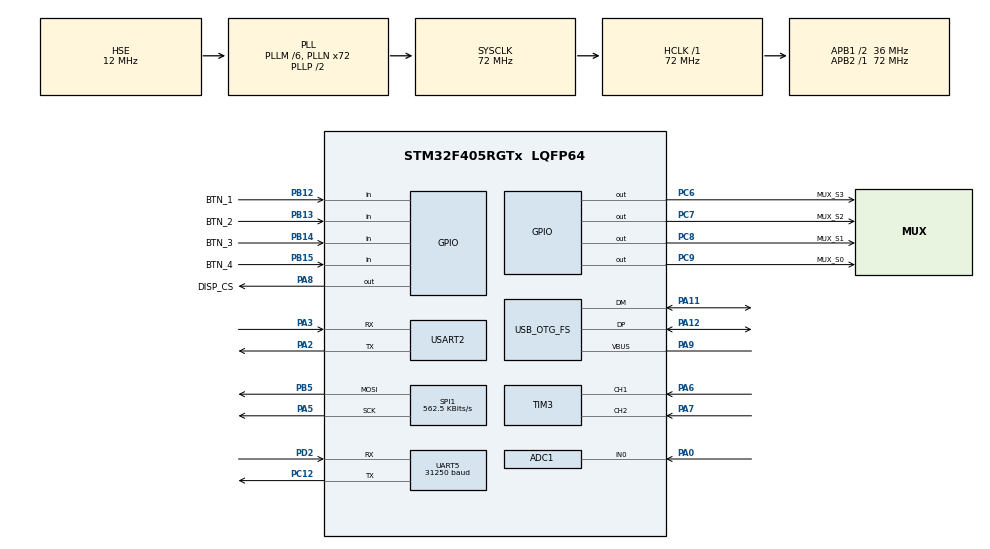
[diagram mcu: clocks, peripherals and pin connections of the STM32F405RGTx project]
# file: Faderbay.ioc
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ADC1.Channel-1\#ChannelRegularConversion=ADC_CHANNEL_0
ADC1.NbrOfConversionFlag=1
ADC1.Rank-1\#ChannelRegularConversion=1
ADC1.SamplingTime-1\#ChannelRegularConversion=ADC_SAMPLETIME_480CYCLES
ADC1.master=1
Dma.ADC1.1.Direction=DMA_PERIPH_TO_MEMORY
Dma.ADC1.1.FIFOMode=DMA_FIFOMODE_DISABLE
Dma.ADC1.1.Instance=DMA2_Stream0
Dma.ADC1.1.MemDataAlignment=DMA_MDATAALIGN_HALFWORD
Dma.ADC1.1.MemInc=DMA_MINC_ENABLE
Dma.ADC1.1.Mode=DMA_NORMAL
Dma.ADC1.1.PeriphDataAlignment=DMA_PDATAALIGN_HALFWORD
Dma.ADC1.1.PeriphInc=DMA_PINC_DISABLE
Dma.ADC1.1.Priority=DMA_PRIORITY_LOW
Dma.Request0=SPI1_TX
Dma.Request1=ADC1
Dma.Request2=UART5_TX
Dma.SPI1_TX.0.Direction=DMA_MEMORY_TO_PERIPH
Dma.SPI1_TX.0.FIFOMode=DMA_FIFOMODE_DISABLE
Dma.SPI1_TX.0.Instance=DMA2_Stream3
Dma.SPI1_TX.0.MemDataAlignment=DMA_MDATAALIGN_BYTE
Dma.SPI1_TX.0.MemInc=DMA_MINC_ENABLE
Dma.SPI1_TX.0.Mode=DMA_NORMAL
Dma.SPI1_TX.0.PeriphDataAlignment=DMA_PDATAALIGN_BYTE
Dma.SPI1_TX.0.PeriphInc=DMA_PINC_DISABLE
Dma.SPI1_TX.0.Priority=DMA_PRIORITY_LOW
Dma.UART5_TX.2.Direction=DMA_MEMORY_TO_PERIPH
Dma.UART5_TX.2.FIFOMode=DMA_FIFOMODE_DISABLE
Dma.UART5_TX.2.Instance=DMA1_Stream7
Dma.UART5_TX.2.MemDataAlignment=DMA_MDATAALIGN_BYTE
Dma.UART5_TX.2.MemInc=DMA_MINC_ENABLE
Dma.UART5_TX.2.Mode=DMA_NORMAL
Dma.UART5_TX.2.PeriphDataAlignment=DMA_PDATAALIGN_BYTE
Dma.UART5_TX.2.PeriphInc=DMA_PINC_DISABLE
Dma.UART5_TX.2.Priority=DMA_PRIORITY_MEDIUM
Mcu.Family=STM32F4
Mcu.Name=STM32F405RGTx
Mcu.Package=LQFP64
NVIC.DMA1_Stream7_IRQn=true\:1\:0\:true\:false\:true\:false\:true\:true
NVIC.DMA2_Stream0_IRQn=true\:0\:0\:false\:false\:true\:false\:true\:true
NVIC.DMA2_Stream3_IRQn=true\:0\:0\:false\:false\:true\:false\:true\:true
NVIC.OTG_FS_IRQn=true\:0\:0\:false\:false\:true\:false\:true\:true
NVIC.PriorityGroup=NVIC_PRIORITYGROUP_4
PA0-WKUP.Signal=ADCx_IN0
PA11.Mode=Device_Only
PA11.Signal=USB_OTG_FS_DM
PA12.Mode=Device_Only
PA12.Signal=USB_OTG_FS_DP
PA13.Mode=Trace_Asynchronous_SW
PA13.Signal=SYS_JTMS-SWDIO
PA14.Mode=Trace_Asynchronous_SW
PA14.Signal=SYS_JTCK-SWCLK
PA2.Mode=Asynchronous
PA2.Signal=USART2_TX
PA3.Mode=Asynchronous
PA3.Signal=USART2_RX
PA5.Mode=TX_Only_Simplex_Unidirect_Master
PA5.Signal=SPI1_SCK
PA6.Signal=S_TIM3_CH1
PA7.Signal=S_TIM3_CH2
PA8.GPIO_Label=DISP_CS
PA8.Signal=GPIO_Output
PA9.Mode=Activate_VBUS
PA9.Signal=USB_OTG_FS_VBUS
PB12.GPIO_Label=BTN_1
PB12.GPIO_PuPd=GPIO_NOPULL
PB12.Signal=GPIO_Input
PB13.GPIO_Label=BTN_2
PB13.GPIO_PuPd=GPIO_NOPULL
PB13.Signal=GPIO_Input
PB14.GPIO_Label=BTN_3
PB14.GPIO_PuPd=GPIO_NOPULL
PB14.Signal=GPIO_Input
PB15.GPIO_Label=BTN_4
PB15.GPIO_PuPd=GPIO_NOPULL
PB15.Signal=GPIO_Input
PB3.Mode=Trace_Asynchronous_SW
PB3.Signal=SYS_JTDO-SWO
PB5.Mode=TX_Only_Simplex_Unidirect_Master
PB5.Signal=SPI1_MOSI
PC12.Mode=Asynchronous
PC12.Signal=UART5_TX
PC6.GPIO_Label=MUX_S3
PC6.Signal=GPIO_Output
PC7.GPIO_Label=MUX_S2
PC7.Signal=GPIO_Output
PC8.GPIO_Label=MUX_S1
PC8.Signal=GPIO_Output
PC9.GPIO_Label=MUX_S0
PC9.Signal=GPIO_Output
PD2.Mode=Asynchronous
PD2.Signal=UART5_RX
PH0-OSC_IN.Mode=HSE-External-Oscillator
PH0-OSC_IN.Signal=RCC_OSC_IN
PH1-OSC_OUT.Mode=HSE-External-Oscillator
PH1-OSC_OUT.Signal=RCC_OSC_OUT
ProjectManager.HeapSize=0x200
ProjectManager.StackSize=0x400
ProjectManager.TargetToolchain=CMake
RCC.48MHZClocksFreq_Value=48000000
RCC.AHBFreq_Value=72000000
RCC.APB1CLKDivider=RCC_HCLK_DIV2
RCC.APB1Freq_Value=36000000
RCC.APB1TimFreq_Value=72000000
RCC.APB2Freq_Value=72000000
RCC.APB2TimFreq_Value=72000000
RCC.CortexFreq_Value=72000000
RCC.HCLKFreq_Value=72000000
RCC.HSE_VALUE=12000000
RCC.HSI_VALUE=16000000
RCC.LSE_VALUE=32768
RCC.PLLM=6
RCC.PLLN=72
RCC.PLLQ=3
RCC.SYSCLKFreq_VALUE=72000000
RCC.SYSCLKSource=RCC_SYSCLKSOURCE_PLLCLK
RCC.VCOOutputFreq_Value=144000000
SH.ADCx_IN0.0=ADC1_IN0,IN0
SH.S_TIM3_CH1.0=TIM3_CH1,Encoder_Interface
SH.S_TIM3_CH2.0=TIM3_CH2,Encoder_Interface
SPI1.BaudRatePrescaler=SPI_BAUDRATEPRESCALER_128
SPI1.CalculateBaudRate=562.5 KBits/s
SPI1.Direction=SPI_DIRECTION_2LINES
SPI1.Mode=SPI_MODE_MASTER
SPI1.VirtualType=VM_MASTER
UART5.BaudRate=31250
UART5.Mode=MODE_TX
UART5.VirtualMode=Asynchronous
USART2.VirtualMode=VM_ASYNC
USB_DEVICE.CLASS_NAME_FS=HID
USB_DEVICE.VirtualMode-HID_FS=Hid
USB_DEVICE.VirtualModeFS=Hid_FS
USB_OTG_FS.VirtualMode=Device_Only
VP_USB_DEVICE_VS_USB_DEVICE_HID_FS.Mode=HID_FS
board=custom

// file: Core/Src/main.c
/* USER CODE BEGIN Header */
/**
  ******************************************************************************
  * @file           : main.c
  * @brief          : Main program body
  ******************************************************************************
  * @attention
  *
  * Copyright (c) 2026 STMicroelectronics.
  * All rights reserved.
  *
  * This software is licensed under terms that can be found in the LICENSE file
  * in the root directory of this software component.
  * If no LICENSE file comes with this software, it is provided AS-IS.
  *
  ******************************************************************************
  */
/* USER CODE END Header */
#include "main.h"
#include "usb_device.h"

/* USER CODE BEGIN Includes */
#include "nlog.h"
#include "scheduler.h"
#include "gpio.h"
#include "uart.h"
#include "spi.h"
#include "adc.h"
#include "timer.h"
#include "midi_driver.h"
#include "button_driver.h"
#include "encoder_driver.h"
#include "fader_driver.h"
#include "display_driver.h"
#include "fader_control.h"
#include "midi_control.h"
#include "app_state.h"
#include "ui_control.h"
#include "config.h"
/* USER CODE END Includes */

ADC_HandleTypeDef hadc1;
DMA_HandleTypeDef hdma_adc1;

SPI_HandleTypeDef hspi1;
DMA_HandleTypeDef hdma_spi1_tx;

TIM_HandleTypeDef htim3;

UART_HandleTypeDef huart5;
UART_HandleTypeDef huart2;
DMA_HandleTypeDef hdma_uart5_tx;

void SystemClock_Config(void);
static void MX_GPIO_Init(void);
static void MX_DMA_Init(void);
static void MX_ADC1_Init(void);
static void MX_SPI1_Init(void);
static void MX_TIM3_Init(void);
static void MX_UART5_Init(void);
static void MX_USART2_UART_Init(void);
/* USER CODE BEGIN PFP */
static void Device_Init(void);
/* USER CODE END PFP */

int main(void)
{

  /* MCU Configuration--------------------------------------------------------*/

  /* Reset of all peripherals, Initializes the Flash interface and the Systick. */
  HAL_Init();

  /* Configure the system clock */
  SystemClock_Config();

  /* Initialize all configured peripherals */
  MX_GPIO_Init();
  MX_DMA_Init();
  MX_ADC1_Init();
  MX_SPI1_Init();
  MX_TIM3_Init();
  MX_UART5_Init();
  MX_USART2_UART_Init();
  MX_USB_DEVICE_Init();
  /* USER CODE BEGIN 2 */
  Device_Init();
  /* USER CODE END 2 */

  /* Infinite loop */
  while (1)
  {

    /* USER CODE BEGIN 3 */
    Scheduler_Run();
  }
  /* USER CODE END 3 */
}

void SystemClock_Config(void)
{
  RCC_OscInitTypeDef RCC_OscInitStruct = {0};
  RCC_ClkInitTypeDef RCC_ClkInitStruct = {0};

  /** Configure the main internal regulator output voltage
  */
  __HAL_RCC_PWR_CLK_ENABLE();
  __HAL_PWR_VOLTAGESCALING_CONFIG(PWR_REGULATOR_VOLTAGE_SCALE1);

  /** Initializes the RCC Oscillators according to the specified parameters
  * in the RCC_OscInitTypeDef structure.
  */
  RCC_OscInitStruct.OscillatorType = RCC_OSCILLATORTYPE_HSE;
  RCC_OscInitStruct.HSEState = RCC_HSE_ON;
  RCC_OscInitStruct.PLL.PLLState = RCC_PLL_ON;
  RCC_OscInitStruct.PLL.PLLSource = RCC_PLLSOURCE_HSE;
  RCC_OscInitStruct.PLL.PLLM = 6;
  RCC_OscInitStruct.PLL.PLLN = 72;
  RCC_OscInitStruct.PLL.PLLP = RCC_PLLP_DIV2;
  RCC_OscInitStruct.PLL.PLLQ = 3;
  if (HAL_RCC_OscConfig(&RCC_OscInitStruct) != HAL_OK)
  {
    Error_Handler();
  }

  /** Initializes the CPU, AHB and APB buses clocks
  */
  RCC_ClkInitStruct.ClockType = RCC_CLOCKTYPE_HCLK|RCC_CLOCKTYPE_SYSCLK
                              |RCC_CLOCKTYPE_PCLK1|RCC_CLOCKTYPE_PCLK2;
  RCC_ClkInitStruct.SYSCLKSource = RCC_SYSCLKSOURCE_PLLCLK;
  RCC_ClkInitStruct.AHBCLKDivider = RCC_SYSCLK_DIV1;
  RCC_ClkInitStruct.APB1CLKDivider = RCC_HCLK_DIV2;
  RCC_ClkInitStruct.APB2CLKDivider = RCC_HCLK_DIV1;

  if (HAL_RCC_ClockConfig(&RCC_ClkInitStruct, FLASH_LATENCY_2) != HAL_OK)
  {
    Error_Handler();
  }
}

static void MX_ADC1_Init(void)
{

  ADC_ChannelConfTypeDef sConfig = {0};

  /** Configure the global features of the ADC (Clock, Resolution, Data Alignment and number of conversion)
  */
  hadc1.Instance = ADC1;
  hadc1.Init.ClockPrescaler = ADC_CLOCK_SYNC_PCLK_DIV2;
  hadc1.Init.Resolution = ADC_RESOLUTION_12B;
  hadc1.Init.ScanConvMode = DISABLE;
  hadc1.Init.ContinuousConvMode = DISABLE;
  hadc1.Init.DiscontinuousConvMode = DISABLE;
  hadc1.Init.ExternalTrigConvEdge = ADC_EXTERNALTRIGCONVEDGE_NONE;
  hadc1.Init.ExternalTrigConv = ADC_SOFTWARE_START;
  hadc1.Init.DataAlign = ADC_DATAALIGN_RIGHT;
  hadc1.Init.NbrOfConversion = 1;
  hadc1.Init.DMAContinuousRequests = DISABLE;
  hadc1.Init.EOCSelection = ADC_EOC_SINGLE_CONV;
  if (HAL_ADC_Init(&hadc1) != HAL_OK)
  {
    Error_Handler();
  }

  /** Configure for the selected ADC regular channel its corresponding rank in the sequencer and its sample time.
  */
  sConfig.Channel = ADC_CHANNEL_0;
  sConfig.Rank = 1;
  sConfig.SamplingTime = ADC_SAMPLETIME_480CYCLES;
  if (HAL_ADC_ConfigChannel(&hadc1, &sConfig) != HAL_OK)
  {
    Error_Handler();
  }

}

static void MX_SPI1_Init(void)
{

  /* SPI1 parameter configuration*/
  hspi1.Instance = SPI1;
  hspi1.Init.Mode = SPI_MODE_MASTER;
  hspi1.Init.Direction = SPI_DIRECTION_2LINES;
  hspi1.Init.DataSize = SPI_DATASIZE_8BIT;
  hspi1.Init.CLKPolarity = SPI_POLARITY_LOW;
  hspi1.Init.CLKPhase = SPI_PHASE_1EDGE;
  hspi1.Init.NSS = SPI_NSS_SOFT;
  hspi1.Init.BaudRatePrescaler = SPI_BAUDRATEPRESCALER_128;
  hspi1.Init.FirstBit = SPI_FIRSTBIT_MSB;
  hspi1.Init.TIMode = SPI_TIMODE_DISABLE;
  hspi1.Init.CRCCalculation = SPI_CRCCALCULATION_DISABLE;
  hspi1.Init.CRCPolynomial = 10;
  if (HAL_SPI_Init(&hspi1) != HAL_OK)
  {
    Error_Handler();
  }

}

static void MX_TIM3_Init(void)
{

  TIM_Encoder_InitTypeDef sConfig = {0};
  TIM_MasterConfigTypeDef sMasterConfig = {0};

  htim3.Instance = TIM3;
  htim3.Init.Prescaler = 0;
  htim3.Init.CounterMode = TIM_COUNTERMODE_UP;
  htim3.Init.Period = 65535;
  htim3.Init.ClockDivision = TIM_CLOCKDIVISION_DIV1;
  htim3.Init.AutoReloadPreload = TIM_AUTORELOAD_PRELOAD_DISABLE;
  sConfig.EncoderMode = TIM_ENCODERMODE_TI1;
  sConfig.IC1Polarity = TIM_ICPOLARITY_RISING;
  sConfig.IC1Selection = TIM_ICSELECTION_DIRECTTI;
  sConfig.IC1Prescaler = TIM_ICPSC_DIV1;
  sConfig.IC1Filter = 0;
  sConfig.IC2Polarity = TIM_ICPOLARITY_RISING;
  sConfig.IC2Selection = TIM_ICSELECTION_DIRECTTI;
  sConfig.IC2Prescaler = TIM_ICPSC_DIV1;
  sConfig.IC2Filter = 0;
  if (HAL_TIM_Encoder_Init(&htim3, &sConfig) != HAL_OK)
  {
    Error_Handler();
  }
  sMasterConfig.MasterOutputTrigger = TIM_TRGO_RESET;
  sMasterConfig.MasterSlaveMode = TIM_MASTERSLAVEMODE_DISABLE;
  if (HAL_TIMEx_MasterConfigSynchronization(&htim3, &sMasterConfig) != HAL_OK)
  {
    Error_Handler();
  }

}

static void MX_UART5_Init(void)
{

  huart5.Instance = UART5;
  huart5.Init.BaudRate = 31250;
  huart5.Init.WordLength = UART_WORDLENGTH_8B;
  huart5.Init.StopBits = UART_STOPBITS_1;
  huart5.Init.Parity = UART_PARITY_NONE;
  huart5.Init.Mode = UART_MODE_TX;
  huart5.Init.HwFlowCtl = UART_HWCONTROL_NONE;
  huart5.Init.OverSampling = UART_OVERSAMPLING_16;
  if (HAL_UART_Init(&huart5) != HAL_OK)
  {
    Error_Handler();
  }

}

static void MX_USART2_UART_Init(void)
{

  huart2.Instance = USART2;
  huart2.Init.BaudRate = 115200;
  huart2.Init.WordLength = UART_WORDLENGTH_8B;
  huart2.Init.StopBits = UART_STOPBITS_1;
  huart2.Init.Parity = UART_PARITY_NONE;
  huart2.Init.Mode = UART_MODE_TX_RX;
  huart2.Init.HwFlowCtl = UART_HWCONTROL_NONE;
  huart2.Init.OverSampling = UART_OVERSAMPLING_16;
  if (HAL_UART_Init(&huart2) != HAL_OK)
  {
    Error_Handler();
  }

}

static void MX_DMA_Init(void)
{

  /* DMA controller clock enable */
  __HAL_RCC_DMA2_CLK_ENABLE();
  __HAL_RCC_DMA1_CLK_ENABLE();

  /* DMA interrupt init */
  /* DMA1_Stream7_IRQn interrupt configuration */
  HAL_NVIC_SetPriority(DMA1_Stream7_IRQn, 1, 0);
  HAL_NVIC_EnableIRQ(DMA1_Stream7_IRQn);
  /* DMA2_Stream0_IRQn interrupt configuration */
  HAL_NVIC_SetPriority(DMA2_Stream0_IRQn, 0, 0);
  HAL_NVIC_EnableIRQ(DMA2_Stream0_IRQn);
  /* DMA2_Stream3_IRQn interrupt configuration */
  HAL_NVIC_SetPriority(DMA2_Stream3_IRQn, 0, 0);
  HAL_NVIC_EnableIRQ(DMA2_Stream3_IRQn);

}

static void MX_GPIO_Init(void)
{
  GPIO_InitTypeDef GPIO_InitStruct = {0};

  /* GPIO Ports Clock Enable */
  __HAL_RCC_GPIOH_CLK_ENABLE();
  __HAL_RCC_GPIOA_CLK_ENABLE();
  __HAL_RCC_GPIOB_CLK_ENABLE();
  __HAL_RCC_GPIOC_CLK_ENABLE();
  __HAL_RCC_GPIOD_CLK_ENABLE();

  /*Configure GPIO pin Output Level */
  HAL_GPIO_WritePin(GPIOC, MUX_S3_Pin|MUX_S2_Pin|MUX_S1_Pin|MUX_S0_Pin, GPIO_PIN_RESET);

  /*Configure GPIO pin Output Level */
  HAL_GPIO_WritePin(DISP_CS_GPIO_Port, DISP_CS_Pin, GPIO_PIN_RESET);

  /*Configure GPIO pins : BTN_1_Pin BTN_2_Pin BTN_3_Pin BTN_4_Pin */
  GPIO_InitStruct.Pin = BTN_1_Pin|BTN_2_Pin|BTN_3_Pin|BTN_4_Pin;
  GPIO_InitStruct.Mode = GPIO_MODE_INPUT;
  GPIO_InitStruct.Pull = GPIO_NOPULL;
  HAL_GPIO_Init(GPIOB, &GPIO_InitStruct);

  /*Configure GPIO pins : MUX_S3_Pin MUX_S2_Pin MUX_S1_Pin MUX_S0_Pin */
  GPIO_InitStruct.Pin = MUX_S3_Pin|MUX_S2_Pin|MUX_S1_Pin|MUX_S0_Pin;
  GPIO_InitStruct.Mode = GPIO_MODE_OUTPUT_PP;
  GPIO_InitStruct.Pull = GPIO_NOPULL;
  GPIO_InitStruct.Speed = GPIO_SPEED_FREQ_LOW;
  HAL_GPIO_Init(GPIOC, &GPIO_InitStruct);

  /*Configure GPIO pin : DISP_CS_Pin */
  GPIO_InitStruct.Pin = DISP_CS_Pin;
  GPIO_InitStruct.Mode = GPIO_MODE_OUTPUT_PP;
  GPIO_InitStruct.Pull = GPIO_NOPULL;
  GPIO_InitStruct.Speed = GPIO_SPEED_FREQ_LOW;
  HAL_GPIO_Init(DISP_CS_GPIO_Port, &GPIO_InitStruct);

}

/* USER CODE BEGIN 4 */
static void Device_Init(void) {
    // Logging
    NLOG_UART_INIT(&huart2);

    // Resource Manager
    Scheduler_Init();

    // Drivers
    MidiDriver_Init(&huart5);
    ButtonDriver_Init(NULL, 0);  /* NULL → use built-in Faderbay defaults */
    EncoderDriver_Init(&htim3);
    FaderDriver_Init(&hadc1);
    DisplayDriver_Init(&hspi1);

    // Application
    AppState_Init();
    FaderControl_Init();
    UIControl_Init();

    // Scheduler tasks
    Scheduler_RegisterTask("FaderDriver",   FaderDriver_Process,   PERIOD_FADER_DRIVER);
    Scheduler_RegisterTask("EncoderDriver", EncoderDriver_Process, PERIOD_ENCODER_DRIVER);
    Scheduler_RegisterTask("FaderControl",  FaderControl_Process,  PERIOD_FADER_CONTROL);
    Scheduler_RegisterTask("MidiControl",   MidiControl_Process,   PERIOD_MIDI_CONTROL);
    Scheduler_RegisterTask("ButtonDriver",  ButtonDriver_Process,  PERIOD_BUTTON_DRIVER);
    Scheduler_RegisterTask("UIControl",     UIControl_Process,     PERIOD_UI_CONTROL);
    Scheduler_RegisterTask("DisplayFlush",  DisplayDriver_Flush,   PERIOD_DISPLAY_FLUSH);
#if SCHEDULER_AUTODUMP_ENABLE
    Scheduler_RegisterTask("SchedStats",    Scheduler_DumpStats,   SCHEDULER_AUTODUMP_PERIOD_MS);
#endif
}
/* USER CODE END 4 */

void Error_Handler(void)
{
  __disable_irq();
  while (1)
  {
  }
}
